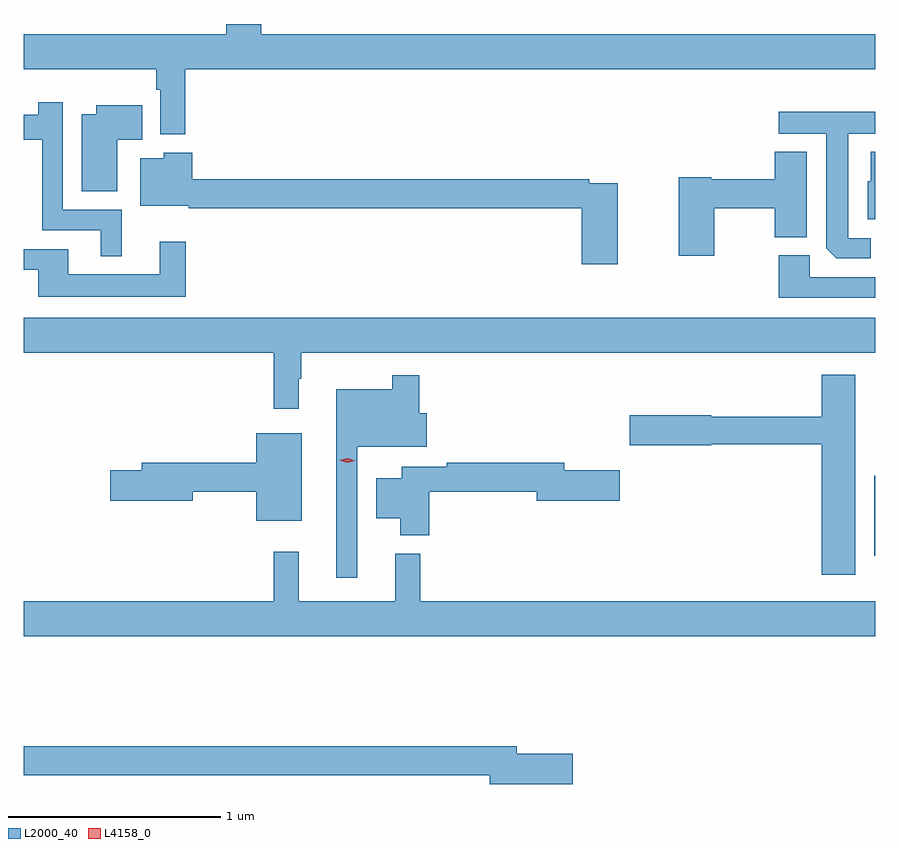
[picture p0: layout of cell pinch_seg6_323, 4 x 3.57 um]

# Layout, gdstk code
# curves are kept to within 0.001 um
import gdstk
lib = gdstk.Library(unit=1e-6, precision=1e-09)
def R(c, l, rs):  # rectangles x0, y0, x1, y1
    for r in rs: c.add(gdstk.rectangle(r[:2], r[2:], *l))
def P(c, l, *ps):  # polygons
    for p in ps: c.add(gdstk.Polygon(p, *l))
L2000_40 = (2000, 40)
L4158_0 = (4158, 0)

pinch_seg6_323 = lib.new_cell('pinch_seg6_323')
R(pinch_seg6_323, L2000_40, [(748.569,982.347,748.573,982.723)])
P(pinch_seg6_323, L2000_40, [(745.331,984.632),(748.573,984.632),(748.573,984.796),(745.688,984.796),(745.688,984.845),(745.523,984.845),(745.523,984.796),(744.573,984.796),(744.573,984.632),(745.195,984.632),(745.195,984.536),(745.215,984.536),(745.215,984.326),(745.331,984.326)],
  [(745.033,983.973),(744.756,983.973),(744.756,984.478),(744.64,984.478),(744.64,984.419),(744.573,984.419),(744.573,984.301),(744.659,984.301),(744.659,983.877),(744.935,983.877),(744.935,983.753),(745.033,983.753)],
  [(745.012,984.302),(745.13,984.302),(745.13,984.463),(744.914,984.463),(744.914,984.421),(744.845,984.421),(744.845,984.058),(745.012,984.058)],
  [(748.552,983.838),(748.447,983.838),(748.447,984.329),(748.573,984.329),(748.573,984.433),(748.119,984.433),(748.119,984.329),(748.343,984.329),(748.344,983.791),(748.39,983.745),(748.552,983.745)],
  [(748.573,984.244),(748.553,984.244),(748.553,984.105),(748.538,984.105),(748.538,983.928),(748.573,983.928)],
  [(747.816,983.98),(748.102,983.98),(748.102,983.843),(748.252,983.843),(748.252,984.244),(748.102,984.244),(748.102,984.116),(747.804,984.116),(747.804,984.124),(747.65,984.124),(747.65,983.757),(747.816,983.757)],
  [(747.364,984.096),(747.23,984.096),(747.23,984.116),(745.364,984.116),(745.364,984.241),(745.23,984.241),(745.23,984.214),(745.121,984.214),(745.121,983.99),(745.347,983.99),(745.347,983.98),(747.194,983.98),(747.194,983.715),(747.364,983.715)],
  [(745.333,983.821),(745.211,983.821),(745.211,983.668),(744.781,983.668),(744.781,983.787),(744.573,983.787),(744.573,983.691),(744.641,983.691),(744.641,983.564),(745.333,983.564)],
  [(748.573,983.655),(748.266,983.655),(748.266,983.758),(748.12,983.758),(748.12,983.559),(748.573,983.559)],
  [(745.864,983.177),(745.876,983.177),(745.876,983.3),(748.573,983.3),(748.573,983.464),(744.573,983.464),(744.573,983.3),(745.747,983.3),(745.747,983.037),(745.864,983.037)],
  [(748.48,983.197),(748.322,983.197),(748.322,982.999),(747.804,982.999),(747.804,983.007),(747.42,983.007),(747.42,982.865),(747.804,982.865),(747.804,982.87),(748.322,982.87),(748.322,982.257),(748.48,982.257)],
  [(746.139,982.859),(746.467,982.859),(746.467,983.017),(746.432,983.017),(746.432,983.194),(746.304,983.194),(746.304,983.128),(746.042,983.128),(746.042,982.242),(746.139,982.242)],
  [(745.879,982.921),(745.664,982.921),(745.664,982.784),(745.127,982.784),(745.127,982.748),(744.978,982.748),(744.978,982.606),(745.366,982.606),(745.366,982.648),(745.664,982.648),(745.664,982.511),(745.879,982.511)],
  [(746.477,982.648),(746.984,982.648),(746.984,982.606),(747.373,982.606),(747.373,982.748),(747.112,982.748),(747.112,982.784),(746.56,982.784),(746.56,982.764),(746.348,982.764),(746.348,982.711),(746.228,982.711),(746.228,982.523),(746.342,982.523),(746.342,982.442),(746.477,982.442)],
  [(748.573,982.132),(746.435,982.132),(746.435,982.357),(746.318,982.357),(746.318,982.132),(745.865,982.132),(745.865,982.366),(745.747,982.366),(745.747,982.132),(744.573,982.132),(744.573,981.968),(748.573,981.968)],
  [(747.151,981.416),(746.89,981.416),(746.89,981.452),(744.573,981.452),(744.573,981.316),(746.762,981.316),(746.762,981.274),(747.151,981.274)])
P(pinch_seg6_323, L4158_0, [(746.092,982.784),(746.058,982.796),(746.057,982.796),(746.058,982.796),(746.094,982.804),(746.128,982.792),(746.129,982.792),(746.128,982.792)])

lib.write_gds('pinch_seg6_323.gds')
